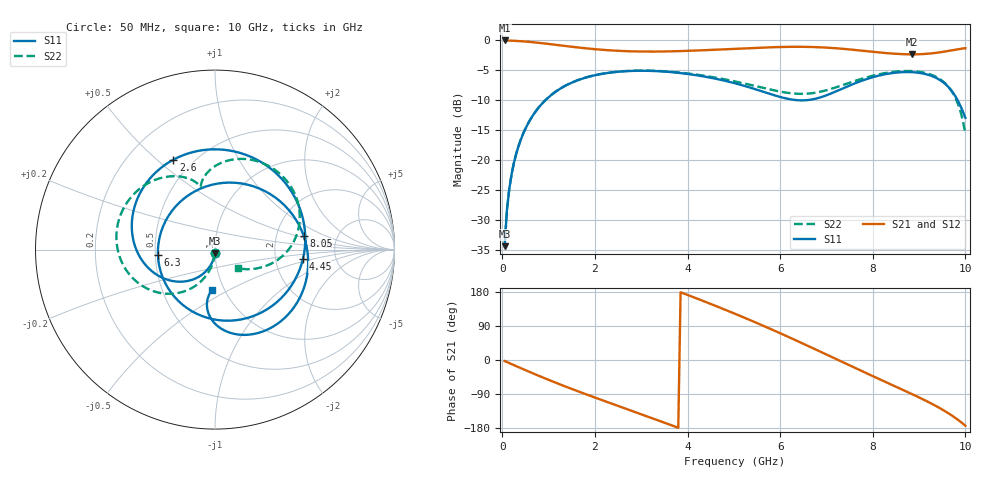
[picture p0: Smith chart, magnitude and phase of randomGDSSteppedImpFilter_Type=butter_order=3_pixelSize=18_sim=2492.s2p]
! freq	dB(S11)	phase(S11)	dB(S12)	phase(S12)
!  dB(S21)	phase(S21)	dB(S22)	phase(S22)
!S-par simulation data
#  GHz  S  DB  R 50
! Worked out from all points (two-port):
!   200 points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, 50 MHz to 10 GHz, reference 50 ohm
!   highest |S21| = 0.00 dB at 50 MHz (marker M1); lowest = -2.3 dB at 8.85 GHz (marker M2)
!   |S21| within 3 dB of the highest: start of sweep to end of sweep
!   lowest |S11| = -34.3 dB at 50 MHz (marker M3), VSWR 1.04, Z = 49.9 - j1.92 ohm
!   |S11| at or under -10 dB: start of sweep to 927.2 MHz; 9.834 GHz to end of sweep
!   |S22| runs from -34.3 to -5.0 dB; largest |S21 - S12| = 0
!   S11 on the Smith chart (normalised r, x): 50 MHz: 1.00, -0.04; 2.6 GHz: 0.39, +0.57; 4.45 GHz: 2.88, -0.39; 6.3 GHz: 0.52, -0.03; 8.05 GHz: 2.86, +0.60; 10 GHz: 0.87, -0.42
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0.05  -34.31 -93.2  -0.00 -2.7  -0.00 -2.7  -34.30 -92.3
0.1  -28.31 -96.6  -0.02 -5.5  -0.02 -5.5  -28.30 -94.7
0.2  -22.35 -103.2  -0.05 -10.9  -0.05 -10.9  -22.34 -99.4
0.5  -14.71 -122.2  -0.19 -26.8  -0.19 -26.8  -14.70 -112.7
1.1  -8.84 -158.5  -0.68 -57.3  -0.68 -57.3  -8.83 -137.2
1.75  -6.32 163.7  -1.27 -87.8  -1.27 -87.8  -6.31 -160.6
2.6  -5.16 114.8  -1.77 -125.4  -1.77 -125.4  -5.14 173.2
3.4  -5.15 66.1  -1.85 -160.7  -1.85 -160.7  -5.10 151.8
3.95  -5.54 29.7  -1.75 174.1  -1.75 174.1  -5.46 138.5
4.45  -6.15 -6.0  -1.60 150.4  -1.60 150.4  -6.00 127.5
5.05  -7.20 -52.8  -1.38 120.7  -1.38 120.7  -6.88 115.9
5.65  -8.59 -105.8  -1.18 89.6  -1.18 89.6  -7.95 107.2
6.3  -9.91 -174.7  -1.06 54.1  -1.06 54.1  -8.86 103.1
6.7  -9.83 138.2  -1.10 31.5  -1.10 31.5  -8.79 102.5
7.35  -8.02 67.9  -1.39 -5.7  -1.39 -5.7  -7.45 96.6
8.05  -6.02 9.0  -1.94 -45.3  -1.94 -45.3  -5.79 78.2
8.35  -5.52 -12.3  -2.15 -62.0  -2.15 -62.0  -5.34 67.3
8.85  -5.29 -44.5  -2.32 -90.0  -2.32 -90.0  -5.12 46.0
9.25  -5.87 -68.8  -2.18 -113.9  -2.18 -113.9  -5.68 25.3
9.65  -7.91 -91.3  -1.72 -141.8  -1.72 -141.8  -7.89 -1.2
9.85  -10.23 -98.5  -1.44 -158.8  -1.44 -158.8  -10.81 -19.4
10  -12.92 -94.3  -1.30 -173.5  -1.30 -173.5  -15.63 -39.3
